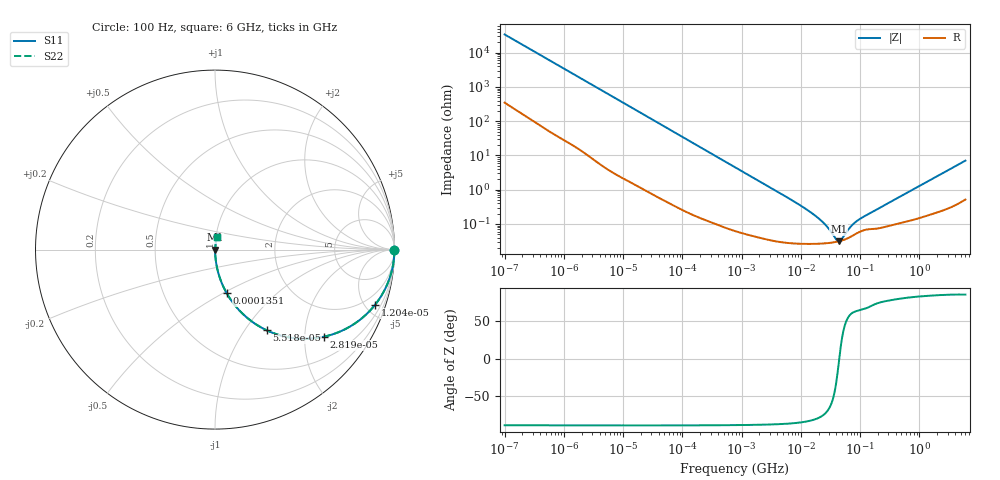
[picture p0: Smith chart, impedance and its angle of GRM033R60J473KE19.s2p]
!Murata Part Number: GRM033R60J473KE19
!These Parameters are Measured in Series Mode Connection
!Data Generated on Mar 30, 2021
!  o--ll--o
!Port1  Port2
!  o------o
!Operation Temp=25[degC], DC Bias Voltage=0[V]
!Freq. Start=100[Hz] Stop=6[GHz] 401[Steps]
# Hz S RI R 50
!Freq.(Hz) S11(Real) S11(Imag) S21(Real) S21(Imag) S12(Real) S12(Imag) S22(Real) S22(Imag)
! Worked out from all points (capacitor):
!   401 points, 100 Hz to 6 GHz, reference 50 ohm
!   read as one part in series: C = 46.6 nF near 109 Hz
!   lowest |Z| = 31.4 mohm at 43.57 MHz (marker M1)
!   series resonance near 44.57 MHz, so ESL is about 270 pH
!   S11 on the Smith chart (normalised r, x): 100 Hz: open; 12.04 kHz: 1.04, -5.79; 28.19 kHz: 1.02, -2.48; 55.18 kHz: 1.01, -1.27; 135.1 kHz: 1.00, -0.52; 6 GHz: 1.01, +0.14
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100  1 -0.00294  3.87e-05 0.00294  3.87e-05 0.00294  1 -0.00294
2008  0.9962 -0.0577  0.00379 0.0577  0.00379 0.0577  0.9962 -0.0577
5143  0.9777 -0.1444  0.0223 0.1444  0.0223 0.1444  0.9777 -0.1444
12041  0.892 -0.3073  0.108 0.3073  0.108 0.3073  0.892 -0.3073
18016  0.7884 -0.4053  0.2116 0.4053  0.2116 0.4053  0.7884 -0.4053
28191  0.6058 -0.4854  0.3942 0.4854  0.3942 0.4854  0.6058 -0.4854
40335  0.4306 -0.4918  0.5694 0.4918  0.5694 0.4918  0.4306 -0.4918
55182  0.2892 -0.45  0.7108 0.45  0.7108 0.45  0.2892 -0.45
86348  0.1439 -0.3475  0.8561 0.3475  0.8561 0.3475  0.1439 -0.3475
135116  0.0652 -0.2431  0.9348 0.2431  0.9348 0.2431  0.0652 -0.2431
302498  0.0145 -0.115  0.9855 0.115  0.9855 0.115  0.0145 -0.115
774597  0.00271 -0.0457  0.9973 0.0457  0.9973 0.0457  0.00271 -0.0457
6353432  0.000308 -0.00554  0.9997 0.00554  0.9997 0.00554  0.000308 -0.00554
1.555665e7  0.000267 -0.00203  0.9997 0.00203  0.9997 0.00203  0.000267 -0.00203
2.434276e7  0.000272 -0.00103  0.9997 0.00103  0.9997 0.00103  0.000272 -0.00103
3.983537e7  0.000302 -0.00018  0.9997 0.00018  0.9997 0.00018  0.000302 -0.00018
4.35672e7  0.000312 -3.6e-05  0.9997 3.6e-05  0.9997 3.6e-05  0.000312 -3.6e-05
4.764863e7  0.000325 0.000108  0.9997 -0.000108  0.9997 -0.000108  0.000325 0.000108
6.817316e7  0.000417 0.000689  0.9996 -0.000689  0.9996 -0.000689  0.000417 0.000689
8.918374e7  0.000544 0.00111  0.9995 -0.00111  0.9995 -0.00111  0.000544 0.00111
3.124326e8  0.000901 0.00415  0.9991 -0.00415  0.9991 -0.00415  0.000901 0.00415
6e9  0.01 0.0696  0.99 -0.0696  0.99 -0.0696  0.01 0.0696
